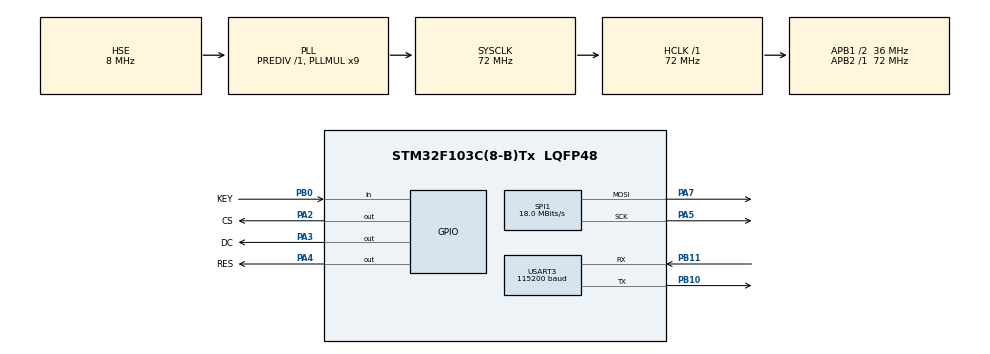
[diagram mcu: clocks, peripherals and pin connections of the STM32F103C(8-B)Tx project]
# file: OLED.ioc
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Mcu.Family=STM32F1
Mcu.Name=STM32F103C(8-B)Tx
Mcu.Package=LQFP48
NVIC.PriorityGroup=NVIC_PRIORITYGROUP_4
PA13.Mode=Serial_Wire
PA13.Signal=SYS_JTMS-SWDIO
PA14.Mode=Serial_Wire
PA14.Signal=SYS_JTCK-SWCLK
PA2.GPIO_Label=CS
PA2.Signal=GPIO_Output
PA3.GPIO_Label=DC
PA3.Signal=GPIO_Output
PA4.GPIO_Label=RES
PA4.Signal=GPIO_Output
PA5.Mode=TX_Only_Simplex_Unidirect_Master
PA5.Signal=SPI1_SCK
PA7.Mode=TX_Only_Simplex_Unidirect_Master
PA7.Signal=SPI1_MOSI
PB0.GPIO_Label=KEY
PB0.GPIO_PuPd=GPIO_PULLUP
PB0.Signal=GPIO_Input
PB10.Mode=Asynchronous
PB10.Signal=USART3_TX
PB11.Mode=Asynchronous
PB11.Signal=USART3_RX
PC14-OSC32_IN.Mode=LSE-External-Oscillator
PC14-OSC32_IN.Signal=RCC_OSC32_IN
PC15-OSC32_OUT.Mode=LSE-External-Oscillator
PC15-OSC32_OUT.Signal=RCC_OSC32_OUT
PD0-OSC_IN.Mode=HSE-External-Oscillator
PD0-OSC_IN.Signal=RCC_OSC_IN
PD1-OSC_OUT.Mode=HSE-External-Oscillator
PD1-OSC_OUT.Signal=RCC_OSC_OUT
ProjectManager.HeapSize=0x200
ProjectManager.StackSize=0x400
ProjectManager.TargetToolchain=MDK-ARM V5.32
RCC.AHBFreq_Value=72000000
RCC.APB1CLKDivider=RCC_HCLK_DIV2
RCC.APB1Freq_Value=36000000
RCC.APB1TimFreq_Value=72000000
RCC.APB2Freq_Value=72000000
RCC.APB2TimFreq_Value=72000000
RCC.HCLKFreq_Value=72000000
RCC.PLLMUL=RCC_PLL_MUL9
RCC.PLLSourceVirtual=RCC_PLLSOURCE_HSE
RCC.SYSCLKFreq_VALUE=72000000
RCC.SYSCLKSource=RCC_SYSCLKSOURCE_PLLCLK
RCC.USBFreq_Value=72000000
SPI1.BaudRatePrescaler=SPI_BAUDRATEPRESCALER_4
SPI1.CalculateBaudRate=18.0 MBits/s
SPI1.Direction=SPI_DIRECTION_2LINES
SPI1.Mode=SPI_MODE_MASTER
SPI1.VirtualType=VM_MASTER
USART3.BaudRate=115200
USART3.VirtualMode=VM_ASYNC
board=custom

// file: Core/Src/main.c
/* USER CODE BEGIN Header */
/**
 ******************************************************************************
 * @file           : main.c
 * @brief          : Main program body
 ******************************************************************************
 * @attention
 *
 * Copyright (c) 2022 STMicroelectronics.
 * All rights reserved.
 *
 * This software is licensed under terms that can be found in the LICENSE file
 * in the root directory of this software component.
 * If no LICENSE file comes with this software, it is provided AS-IS.
 *
 ******************************************************************************
 */
/* USER CODE END Header */
#include "main.h"
#include "spi.h"
#include "usart.h"
#include "gpio.h"

/* USER CODE BEGIN Includes */
#include "oled.h"
#include "u8g2.h"
#include "u8x8.h"
#include "multi_button.h"
#include "stdio.h"
#include "log.h"

/* USER CODE END Includes */

/* USER CODE BEGIN PTD */
volatile uint32_t flag;
u8g2_t u8g2;

unsigned int number = 0;
unsigned char str[10] = {0};

/* USER CODE END PTD */

/* USER CODE BEGIN PV */
struct Button button;

/* USER CODE END PV */

void SystemClock_Config(void);

/* USER CODE BEGIN 0 */
uint8_t read_button_GPIO()
{
    return HAL_GPIO_ReadPin(KEY_GPIO_Port, KEY_Pin);
}

void btn_press_up_Handler(void *btn)
{
    number++;
}

void btn_long_press_start_Handler(void *btn)
{
    number = 0;
}
/* USER CODE END 0 */

int main(void)
{

  /* MCU Configuration--------------------------------------------------------*/

  /* Reset of all peripherals, Initializes the Flash interface and the Systick. */
  HAL_Init();

  /* USER CODE BEGIN Init */
    uint8_t t;
    uint8_t fps;
  /* USER CODE END Init */

  /* Configure the system clock */
  SystemClock_Config();

  /* Initialize all configured peripherals */
  MX_GPIO_Init();
  MX_SPI1_Init();
  MX_USART3_UART_Init();
  /* USER CODE BEGIN 2 */
    OLED_RST_Set();
    u8g2Init(&u8g2);

    button_init(&button, read_button_GPIO, 0, 0);
    button_attach(&button, PRESS_UP, btn_press_up_Handler);
    button_attach(&button, LONG_PRESS_START, btn_long_press_start_Handler);
    button_start(&button);
  /* USER CODE END 2 */

  /* Infinite loop */
  /* USER CODE BEGIN WHILE */
  while (1)
  {
	  printf("Hello World !\r\n");
	  LOG("Hello RTT !");
	  LOGE("Hello RTT !");
	  LOGI("Hello RTT !");
	  LOGW("Hello RTT !");
	  HAL_Delay(1000);
    /* USER CODE END WHILE */

  }
}

void SystemClock_Config(void)
{
  RCC_OscInitTypeDef RCC_OscInitStruct = {0};
  RCC_ClkInitTypeDef RCC_ClkInitStruct = {0};

  /** Initializes the RCC Oscillators according to the specified parameters
  * in the RCC_OscInitTypeDef structure.
  */
  RCC_OscInitStruct.OscillatorType = RCC_OSCILLATORTYPE_HSE;
  RCC_OscInitStruct.HSEState = RCC_HSE_ON;
  RCC_OscInitStruct.HSEPredivValue = RCC_HSE_PREDIV_DIV1;
  RCC_OscInitStruct.HSIState = RCC_HSI_ON;
  RCC_OscInitStruct.PLL.PLLState = RCC_PLL_ON;
  RCC_OscInitStruct.PLL.PLLSource = RCC_PLLSOURCE_HSE;
  RCC_OscInitStruct.PLL.PLLMUL = RCC_PLL_MUL9;
  if (HAL_RCC_OscConfig(&RCC_OscInitStruct) != HAL_OK)
  {
    Error_Handler();
  }

  /** Initializes the CPU, AHB and APB buses clocks
  */
  RCC_ClkInitStruct.ClockType = RCC_CLOCKTYPE_HCLK|RCC_CLOCKTYPE_SYSCLK
                              |RCC_CLOCKTYPE_PCLK1|RCC_CLOCKTYPE_PCLK2;
  RCC_ClkInitStruct.SYSCLKSource = RCC_SYSCLKSOURCE_PLLCLK;
  RCC_ClkInitStruct.AHBCLKDivider = RCC_SYSCLK_DIV1;
  RCC_ClkInitStruct.APB1CLKDivider = RCC_HCLK_DIV2;
  RCC_ClkInitStruct.APB2CLKDivider = RCC_HCLK_DIV1;

  if (HAL_RCC_ClockConfig(&RCC_ClkInitStruct, FLASH_LATENCY_2) != HAL_OK)
  {
    Error_Handler();
  }
}

void Error_Handler(void)
{
    __disable_irq();
    while (1)
    {
    }
}
